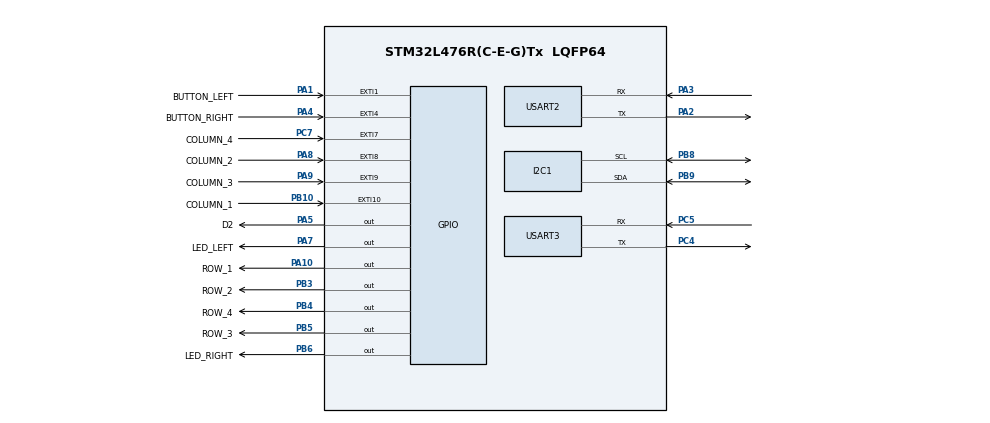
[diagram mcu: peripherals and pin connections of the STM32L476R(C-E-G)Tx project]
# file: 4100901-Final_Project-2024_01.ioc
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Mcu.Family=STM32L4
Mcu.Name=STM32L476R(C-E-G)Tx
Mcu.Package=LQFP64
NVIC.EXTI15_10_IRQn=true\:0\:0\:false\:false\:true\:true\:true\:true
NVIC.EXTI1_IRQn=true\:0\:0\:false\:false\:true\:true\:true\:true
NVIC.EXTI4_IRQn=true\:0\:0\:false\:false\:true\:true\:true\:true
NVIC.EXTI9_5_IRQn=true\:0\:0\:false\:false\:true\:true\:true\:true
NVIC.PriorityGroup=NVIC_PRIORITYGROUP_4
NVIC.USART2_IRQn=true\:0\:0\:false\:false\:true\:true\:true\:true
PA1.GPIO_Label=BUTTON_LEFT
PA1.GPIO_ModeDefaultEXTI=GPIO_MODE_IT_FALLING
PA1.GPIO_PuPd=GPIO_PULLUP
PA1.Signal=GPXTI1
PA10.GPIO_Label=ROW_1
PA10.GPIO_ModeDefaultOutputPP=GPIO_MODE_OUTPUT_PP
PA10.GPIO_Speed=GPIO_SPEED_FREQ_HIGH
PA10.PinState=GPIO_PIN_SET
PA10.Signal=GPIO_Output
PA2.Mode=Asynchronous
PA2.Signal=USART2_TX
PA3.Mode=Asynchronous
PA3.Signal=USART2_RX
PA4.GPIO_Label=BUTTON_RIGHT
PA4.GPIO_ModeDefaultEXTI=GPIO_MODE_IT_FALLING
PA4.GPIO_PuPd=GPIO_PULLUP
PA4.Signal=GPXTI4
PA5.GPIO_Label=D2
PA5.Signal=GPIO_Output
PA7.GPIO_Label=LED_LEFT
PA7.Signal=GPIO_Output
PA8.GPIO_Label=COLUMN_2
PA8.GPIO_PuPd=GPIO_PULLDOWN
PA8.Signal=GPXTI8
PA9.GPIO_Label=COLUMN_3
PA9.GPIO_PuPd=GPIO_PULLDOWN
PA9.Signal=GPXTI9
PB10.GPIO_Label=COLUMN_1
PB10.GPIO_PuPd=GPIO_PULLDOWN
PB10.Signal=GPXTI10
PB3\ (JTDO-TRACESWO).GPIO_Label=ROW_2
PB3\ (JTDO-TRACESWO).GPIO_ModeDefaultOutputPP=GPIO_MODE_OUTPUT_PP
PB3\ (JTDO-TRACESWO).GPIO_Speed=GPIO_SPEED_FREQ_HIGH
PB3\ (JTDO-TRACESWO).PinState=GPIO_PIN_SET
PB3\ (JTDO-TRACESWO).Signal=GPIO_Output
PB4\ (NJTRST).GPIO_Label=ROW_4
PB4\ (NJTRST).GPIO_ModeDefaultOutputPP=GPIO_MODE_OUTPUT_PP
PB4\ (NJTRST).GPIO_Speed=GPIO_SPEED_FREQ_HIGH
PB4\ (NJTRST).PinState=GPIO_PIN_SET
PB4\ (NJTRST).Signal=GPIO_Output
PB5.GPIO_Label=ROW_3
PB5.GPIO_ModeDefaultOutputPP=GPIO_MODE_OUTPUT_PP
PB5.GPIO_Speed=GPIO_SPEED_FREQ_HIGH
PB5.PinState=GPIO_PIN_SET
PB5.Signal=GPIO_Output
PB6.GPIO_Label=LED_RIGHT
PB6.Signal=GPIO_Output
PB8.Mode=I2C
PB8.Signal=I2C1_SCL
PB9.Mode=I2C
PB9.Signal=I2C1_SDA
PC4.Mode=Asynchronous
PC4.Signal=USART3_TX
PC5.Mode=Asynchronous
PC5.Signal=USART3_RX
PC7.GPIO_Label=COLUMN_4
PC7.GPIO_PuPd=GPIO_PULLDOWN
PC7.Signal=GPXTI7
ProjectManager.HeapSize=0x200
ProjectManager.StackSize=0x400
ProjectManager.TargetToolchain=STM32CubeIDE
RCC.HSE_VALUE=8000000
RCC.HSI_VALUE=16000000
RCC.LSE_VALUE=32768
RCC.MSI_VALUE=4000000
RCC.VCOOutputFreq_Value=32000000
USART2.VirtualMode-Asynchronous=VM_ASYNC
USART3.VirtualMode-Asynchronous=VM_ASYNC
board=custom

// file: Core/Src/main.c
/* USER CODE BEGIN Header */
/**
  ******************************************************************************
  * @file           : main.c
  * @brief          : Main program body
  ******************************************************************************
  * @attention
  *
  * Copyright (c) 2024 STMicroelectronics.
  * All rights reserved.
  *
  * This software is licensed under terms that can be found in the LICENSE file
  * in the root directory of this software component.
  * If no LICENSE file comes with this software, it is provided AS-IS.
  *
  ******************************************************************************
  */
/* USER CODE END Header */
#include "main.h"

/* USER CODE BEGIN Includes */
#include <stdio.h>

#include "ssd1306.h"
#include "ssd1306_fonts.h"

#include "ring_buffer.h"
#include "keypad.h"

/* USER CODE END Includes */

I2C_HandleTypeDef hi2c1;

UART_HandleTypeDef huart2;
UART_HandleTypeDef huart3;

/* USER CODE BEGIN PV */

#define USART2_BUFFER_SIZE 8
uint8_t usart2_buffer[USART2_BUFFER_SIZE];
ring_buffer_t usart2_rb;
uint8_t usart2_rx;
uint8_t IZQ;
uint8_t DER;

uint32_t left_toggles = 0;
uint32_t right_toggles = 0;
uint32_t left_last_press_tick = 0;
uint32_t right_last_press_tick = 0;

typedef enum {
    MENU_PRINCIPAL,
    MENU_DIRECCION,
    SELECCION_IZQUIERDA,
    SELECCION_DERECHA
} MenuState;

MenuState currentMenu = MENU_PRINCIPAL;

/* USER CODE END PV */

void SystemClock_Config(void);
static void MX_GPIO_Init(void);
static void MX_I2C1_Init(void);
static void MX_USART2_UART_Init(void);
static void MX_USART3_UART_Init(void);

/* USER CODE BEGIN 0 */

/* Private variables ---------------------------------------------------------*/
#define MAX_DIGITS 4  // Longitud de la clave
char current_password[MAX_DIGITS + 1] = "";  // Buffer para almacenar la clave actual
uint8_t digit_index = 0; // �?ndice para los dígitos ingresados
char correct_password[MAX_DIGITS + 1] = "1234";  // Clave correcta para comparación
uint8_t authenticated = 0;  // Estado de autenticación (0 = no autenticado, 1 = autenticado)

char clave_actual[5] = "1234"; // Clave por defecto
char clave_ingresada[5]; // Para almacenar la clave ingresada
int8_t v=0;

/* Función para actualizar la pantalla con la clave ingresada */
void update_password_display() {
    ssd1306_Fill(Black);
    ssd1306_SetCursor(0, 0);
    ssd1306_WriteString("Clave: ", Font_11x18, White);
    ssd1306_SetCursor(0, 20);
    ssd1306_WriteString(current_password, Font_11x18, White);
    ssd1306_UpdateScreen();
}

void process_keypad_input(uint8_t key) {
    if (authenticated) {
        comandos(key);
    } else if (key >= '0' && key <= '9') {
        if (digit_index < MAX_DIGITS) {
            current_password[digit_index++] = key;
            current_password[digit_index] = '\0';
            update_password_display();
        }

        if (digit_index == MAX_DIGITS) {
            verify_password();
        }
    }
}

void comandos(uint8_t key2) {
    switch (key2) {
        case '1':
        	key2=NULL;
        	signal_left();
            currentMenu = MENU_PRINCIPAL;
            break;
        case '2':
        	key2=NULL;
            signal_stop();
            currentMenu = MENU_PRINCIPAL;

            break;
        case '3':
        	key2=NULL;
            signal_right();
            currentMenu = MENU_PRINCIPAL;
            break;
        case '4':
        	key2=NULL;
            cambiar_clave();
            break;
        default:
            ssd1306_WriteString("Comando no reconocido", Font_11x18, White);
            HAL_UART_Transmit(&huart2, (uint8_t *)"Comando no reconocido\r\n", 24, 10);
            HAL_UART_Transmit(&huart3, (uint8_t *)"Comando no reconocido\r\n", 24, 10);
            break;
    }
}

/* Función para verificar si la clave ingresada es correcta */

void verify_password() {
    if (strcmp(current_password, correct_password) == 0) {
        ssd1306_Fill(Black);
        ssd1306_SetCursor(0, 0);
        ssd1306_WriteString("Clave Correcta!", Font_11x18, White);
        HAL_UART_Transmit(&huart2, (uint8_t *)"Clave Correcta!\r\n", 18, 10);
        HAL_UART_Transmit(&huart3, (uint8_t *)"Clave Correcta!\r\n", 18, 10);
        ssd1306_UpdateScreen();
        authenticated = 1;
    } else {
        ssd1306_Fill(Black);
        ssd1306_SetCursor(0, 0);
        ssd1306_WriteString("Clave Incorrecta", Font_11x18, White);
        HAL_UART_Transmit(&huart2, (uint8_t *)"Clave Incorrecta\r\n", 19, 10);
        HAL_UART_Transmit(&huart3, (uint8_t *)"Clave Incorrecta\r\n", 19, 10);
        ssd1306_UpdateScreen();
    }

    digit_index = 0;
    current_password[0] = '\0';
}

void cambiar_clave() {
    if (!authenticated) {
        ssd1306_WriteString("No autenticado", Font_11x18, White);
        HAL_UART_Transmit(&huart2, (uint8_t *)"No autenticado\r\n", 17, 10);
        HAL_UART_Transmit(&huart3, (uint8_t *)"No autenticado\r\n", 17, 10);

    }

    ssd1306_Fill(Black);
    ssd1306_SetCursor(0, 0);
    ssd1306_WriteString("Nueva Clave:", Font_11x18, White);
    HAL_UART_Transmit(&huart2, (uint8_t *)"Nueva clave\r\n", 15, 10);
    HAL_UART_Transmit(&huart3, (uint8_t *)"Nueva clave\r\n", 15, 10);
    ssd1306_UpdateScreen();

    for (int i = 0; i < 4; i++) {
        clave_actual[i] = keypad_scan(GPIO_PIN_All);

    }
    clave_actual[4] = '\0';

    ssd1306_Fill(Black);
    ssd1306_SetCursor(0, 0);
    ssd1306_WriteString("Clave Cambiada", Font_11x18, White);
    HAL_UART_Transmit(&huart2, (uint8_t *)"Clave cambiada\r\n", 17, 10);
    HAL_UART_Transmit(&huart3, (uint8_t *)"Clave cambiada\r\n", 17, 10);
    ssd1306_UpdateScreen();

    currentMenu = MENU_PRINCIPAL;
}

void signal_direction(uint8_t direction) {
    if (direction == 1) {
        ssd1306_WriteString("<< Izquierda <<", Font_11x18, White);
        HAL_UART_Transmit(&huart2, (uint8_t *)"<< Izquierda <<\r\n", 18, 10);
        HAL_UART_Transmit(&huart3, (uint8_t *)"<< Izquierda <<\r\n", 18, 10);
    } else if (direction == 3) {
        ssd1306_WriteString(">> Derecha >>", Font_11x18, White);
        HAL_UART_Transmit(&huart2, (uint8_t *)">> Derecha >>\r\n", 18, 10);
        HAL_UART_Transmit(&huart3, (uint8_t *)">> Derecha >>\r\n", 18, 10);
    }
    ssd1306_UpdateScreen();
}
void signal_stop() {
    ssd1306_Fill(Black);
    ssd1306_SetCursor(0, 0);
    ssd1306_WriteString("=== STOP ===", Font_11x18, White);
    HAL_UART_Transmit(&huart2, (uint8_t *)"=== STOP ===\r\n", 15, 10);
    HAL_UART_Transmit(&huart3, (uint8_t *)"=== STOP ===\r\n", 15, 10);
    ssd1306_UpdateScreen();

    int8_t key2 = NULL;
    comandos(key2);
    return;
}
void signal_left() {
    ssd1306_Fill(Black);
    ssd1306_SetCursor(0, 0);
    ssd1306_WriteString("<<< LEFT <<<", Font_11x18, White);
    HAL_UART_Transmit(&huart2, (uint8_t *)"<<< LEFT <<<\r\n", 15, 10);
    HAL_UART_Transmit(&huart3, (uint8_t *)"<<< LEFT <<<\r\n", 15, 10);
    ssd1306_UpdateScreen();
    //HAL_Delay(2000);
    int8_t key2 = NULL;
        comandos(key2);
    return;
}

void signal_right() {
    ssd1306_Fill(Black);
    ssd1306_SetCursor(0, 0);
    ssd1306_WriteString(">>> RIGHT >>>", Font_11x18, White);
    HAL_UART_Transmit(&huart2, (uint8_t *)">>> RIGHT >>>\r\n", 16, 10);
    HAL_UART_Transmit(&huart3, (uint8_t *)">>> RIGHT >>>\r\n", 16, 10);
    ssd1306_UpdateScreen();

    int8_t key2 = NULL;
        comandos(key2);
    return;
}

void heartbeat(void)
{
	static uint32_t heartbeat_tick = 0;
	if (heartbeat_tick < HAL_GetTick()) {
		heartbeat_tick = HAL_GetTick() + 500;
		HAL_GPIO_TogglePin(D2_GPIO_Port, D2_Pin);
	}
}

void turn_signal_left(void)
{
	if(authenticated){
	static uint32_t turn_toggle_tick = 0;
	if (turn_toggle_tick < HAL_GetTick()) {
		if (left_toggles > 0) {
			turn_toggle_tick = HAL_GetTick() + 500;

			ssd1306_Fill(Black);
			HAL_Delay(500);
			ssd1306_SetCursor(0, 0);
			ssd1306_WriteString("<< Izquierda <<", Font_11x18, White);
			HAL_UART_Transmit(&huart2,(uint8_t *)"<< Izquierda <<\r\n",19 , 10);
			HAL_UART_Transmit(&huart3,(uint8_t *)"<< Izquierda <<\r\n",19 , 10);
			ssd1306_UpdateScreen();
			left_toggles--;
		} else {
			ssd1306_Fill(Black);
			HAL_Delay(500);
			ssd1306_SetCursor(0, 0);
			ssd1306_WriteString("<< Izquierda <<", Font_11x18, White);
			HAL_UART_Transmit(&huart2,(uint8_t *)"<< Izquierda <<\r\n",19 , 10);
			HAL_UART_Transmit(&huart3,(uint8_t *)"<< Izquierda <<\r\n",19 , 10);
			ssd1306_UpdateScreen();
		}

	}
	}
}

int _write(int file, char *ptr, int len)
{
  HAL_UART_Transmit(&huart2, (uint8_t *)ptr, len, 10);
  return len;
}

void HAL_UART_RxCpltCallback(UART_HandleTypeDef *huart)
{
  /* Data received in USART2 */
  if (huart->Instance == USART2) {
	  usart2_rx = USART2->RDR; // leyendo el byte recibido de USART2
	  ring_buffer_write(&usart2_rb, usart2_rx); // put the data received in buffer
	  //HAL_UART_Receive_IT(&huart2, &usart2_rx, 1); // enable interrupt to continue receiving
	  ATOMIC_SET_BIT(USART2->CR1, USART_CR1_RXNEIE); // usando un funcion mas liviana para reducir memoria
  }
}

void HAL_GPIO_EXTI_Callback(uint16_t GPIO_Pin)
{

    uint8_t key_pressed = keypad_scan(GPIO_Pin);

    if(!authenticated){
    // Llamar a la función para procesar la tecla presionada
    process_keypad_input(key_pressed);
    }else{

    	comandos(key_pressed);
    }

    // Aquí puedes continuar con la lógica del menú si es necesario

	if (GPIO_Pin == BUTTON_RIGHT_Pin) {
		HAL_UART_Transmit(&huart2, (uint8_t *)"S1\r\n", 4, 10);
		if (HAL_GetTick() < (left_last_press_tick + 300)) { // if last press was in the last 300ms
			left_toggles = 0xFFFFFF; // a long time toggling (infinite)
		} else {
			left_toggles = 6;
		}
		left_last_press_tick = HAL_GetTick();
	} else if (GPIO_Pin == BUTTON_LEFT_Pin) {
		left_toggles = 0;
	}

	}

void low_power_mode()
{
#define AWAKE_TIME (10 * 1000) // 10 segundos
	static uint32_t sleep_tick = AWAKE_TIME;

	if (sleep_tick > HAL_GetTick()) {
		return;
	}
	printf("Sleeping\r\n");
	sleep_tick = HAL_GetTick() + AWAKE_TIME;

	RCC->AHB1SMENR  = 0x0;
	RCC->AHB2SMENR  = 0x0;
	RCC->AHB3SMENR  = 0x0;

	RCC->APB1SMENR1 = 0x0;
	RCC->APB1SMENR2 = 0x0;
	RCC->APB2SMENR  = 0x0;

	/*Suspend Tick increment to prevent wakeup by Systick interrupt.
	Otherwise the Systick interrupt will wake up the device within 1ms (HAL time base)*/
	HAL_SuspendTick();

	/* Enter Sleep Mode , wake up is done once User push-button is pressed */
	HAL_PWR_EnterSLEEPMode(PWR_MAINREGULATOR_ON, PWR_SLEEPENTRY_WFI);

	/* Resume Tick interrupt if disabled prior to SLEEP mode entry */
	HAL_ResumeTick();

	printf("Awake\r\n");
}
/* USER CODE END 0 */

int main(void)
{

  /* MCU Configuration--------------------------------------------------------*/

  /* Reset of all peripherals, Initializes the Flash interface and the Systick. */
  HAL_Init();

  /* Configure the system clock */
  SystemClock_Config();

  /* Initialize all configured peripherals */
  MX_GPIO_Init();
  MX_I2C1_Init();
  MX_USART2_UART_Init();
  MX_USART3_UART_Init();
  /* USER CODE BEGIN 2 */

  ssd1306_Init();
  ssd1306_SetCursor(25, 5);

  ring_buffer_init(&usart2_rb, usart2_buffer, USART2_BUFFER_SIZE);
  /* USER CODE END 2 */

  /* Infinite loop */
  /* USER CODE BEGIN WHILE */
  printf("Starting...\r\n");
  //HAL_UART_Receive_IT(&huart2, &usart2_rx, 1); // enable interrupt for USART2 Rx
  ATOMIC_SET_BIT(USART2->CR1, USART_CR1_RXNEIE); // usando un funcion mas liviana para reducir memoria

  while (1) {

	      HAL_Delay(500);
	      uint8_t key_pressed = keypad_scan(GPIO_PIN_All);  // Escanea el teclado

	      if (!authenticated) {
	          ssd1306_Fill(Black);
	          ssd1306_SetCursor(0, 0);
	          ssd1306_WriteString("Ingrese Clave:", Font_11x18, White);
	          ssd1306_UpdateScreen();
	      }
//	      else {
//	          comandos(key_pressed);  // Mostrar comandos si el usuario está autenticado
//	      }

         low_power_mode();  // Modo de bajo consumo

//	  if (ingresar_clave()) { // Verificar clave
//	              char tecla = keypad_scan(GPIO_PIN_All);
//
//	              if (tecla == '1' || tecla == '2' || tecla == '3') {
//	                  modo_direccional();
//	              } else if (tecla == 'A') {
//	                  cambiar_clave(); // Cambiar clave
//	              }
//	          }

	  if (ring_buffer_is_full(&usart2_rb) != 0) {
		  printf("Received:\r\n");
		  while (ring_buffer_is_empty(&usart2_rb) == 0) {
			  uint8_t data;
			  ring_buffer_read(&usart2_rb, &data);
			  HAL_UART_Transmit(&huart2, &data, 1, 10);
		  }
		  printf("\r\n");
	  }

	  low_power_mode();
    /* USER CODE END WHILE */

  }
}

void SystemClock_Config(void)
{
  RCC_OscInitTypeDef RCC_OscInitStruct = {0};
  RCC_ClkInitTypeDef RCC_ClkInitStruct = {0};

  /** Configure the main internal regulator output voltage
  */
  if (HAL_PWREx_ControlVoltageScaling(PWR_REGULATOR_VOLTAGE_SCALE1) != HAL_OK)
  {
    Error_Handler();
  }

  /** Initializes the RCC Oscillators according to the specified parameters
  * in the RCC_OscInitTypeDef structure.
  */
  RCC_OscInitStruct.OscillatorType = RCC_OSCILLATORTYPE_MSI;
  RCC_OscInitStruct.MSIState = RCC_MSI_ON;
  RCC_OscInitStruct.MSICalibrationValue = 0;
  RCC_OscInitStruct.MSIClockRange = RCC_MSIRANGE_6;
  RCC_OscInitStruct.PLL.PLLState = RCC_PLL_NONE;
  if (HAL_RCC_OscConfig(&RCC_OscInitStruct) != HAL_OK)
  {
    Error_Handler();
  }

  /** Initializes the CPU, AHB and APB buses clocks
  */
  RCC_ClkInitStruct.ClockType = RCC_CLOCKTYPE_HCLK|RCC_CLOCKTYPE_SYSCLK
                              |RCC_CLOCKTYPE_PCLK1|RCC_CLOCKTYPE_PCLK2;
  RCC_ClkInitStruct.SYSCLKSource = RCC_SYSCLKSOURCE_MSI;
  RCC_ClkInitStruct.AHBCLKDivider = RCC_SYSCLK_DIV1;
  RCC_ClkInitStruct.APB1CLKDivider = RCC_HCLK_DIV1;
  RCC_ClkInitStruct.APB2CLKDivider = RCC_HCLK_DIV1;

  if (HAL_RCC_ClockConfig(&RCC_ClkInitStruct, FLASH_LATENCY_0) != HAL_OK)
  {
    Error_Handler();
  }
}

static void MX_I2C1_Init(void)
{

  hi2c1.Instance = I2C1;
  hi2c1.Init.Timing = 0x00000E14;
  hi2c1.Init.OwnAddress1 = 0;
  hi2c1.Init.AddressingMode = I2C_ADDRESSINGMODE_7BIT;
  hi2c1.Init.DualAddressMode = I2C_DUALADDRESS_DISABLE;
  hi2c1.Init.OwnAddress2 = 0;
  hi2c1.Init.OwnAddress2Masks = I2C_OA2_NOMASK;
  hi2c1.Init.GeneralCallMode = I2C_GENERALCALL_DISABLE;
  hi2c1.Init.NoStretchMode = I2C_NOSTRETCH_DISABLE;
  if (HAL_I2C_Init(&hi2c1) != HAL_OK)
  {
    Error_Handler();
  }

  /** Configure Analogue filter
  */
  if (HAL_I2CEx_ConfigAnalogFilter(&hi2c1, I2C_ANALOGFILTER_ENABLE) != HAL_OK)
  {
    Error_Handler();
  }

  /** Configure Digital filter
  */
  if (HAL_I2CEx_ConfigDigitalFilter(&hi2c1, 0) != HAL_OK)
  {
    Error_Handler();
  }

}

static void MX_USART2_UART_Init(void)
{

  huart2.Instance = USART2;
  huart2.Init.BaudRate = 115200;
  huart2.Init.WordLength = UART_WORDLENGTH_8B;
  huart2.Init.StopBits = UART_STOPBITS_1;
  huart2.Init.Parity = UART_PARITY_NONE;
  huart2.Init.Mode = UART_MODE_TX_RX;
  huart2.Init.HwFlowCtl = UART_HWCONTROL_NONE;
  huart2.Init.OverSampling = UART_OVERSAMPLING_16;
  huart2.Init.OneBitSampling = UART_ONE_BIT_SAMPLE_DISABLE;
  huart2.AdvancedInit.AdvFeatureInit = UART_ADVFEATURE_NO_INIT;
  if (HAL_UART_Init(&huart2) != HAL_OK)
  {
    Error_Handler();
  }

}

static void MX_USART3_UART_Init(void)
{

  huart3.Instance = USART3;
  huart3.Init.BaudRate = 115200;
  huart3.Init.WordLength = UART_WORDLENGTH_8B;
  huart3.Init.StopBits = UART_STOPBITS_1;
  huart3.Init.Parity = UART_PARITY_NONE;
  huart3.Init.Mode = UART_MODE_TX_RX;
  huart3.Init.HwFlowCtl = UART_HWCONTROL_NONE;
  huart3.Init.OverSampling = UART_OVERSAMPLING_16;
  huart3.Init.OneBitSampling = UART_ONE_BIT_SAMPLE_DISABLE;
  huart3.AdvancedInit.AdvFeatureInit = UART_ADVFEATURE_NO_INIT;
  if (HAL_UART_Init(&huart3) != HAL_OK)
  {
    Error_Handler();
  }

}

static void MX_GPIO_Init(void)
{
  GPIO_InitTypeDef GPIO_InitStruct = {0};

  /* GPIO Ports Clock Enable */
  __HAL_RCC_GPIOA_CLK_ENABLE();
  __HAL_RCC_GPIOC_CLK_ENABLE();
  __HAL_RCC_GPIOB_CLK_ENABLE();

  /*Configure GPIO pin Output Level */
  HAL_GPIO_WritePin(GPIOA, D2_Pin|LED_LEFT_Pin, GPIO_PIN_RESET);

  /*Configure GPIO pin Output Level */
  HAL_GPIO_WritePin(ROW_1_GPIO_Port, ROW_1_Pin, GPIO_PIN_SET);

  /*Configure GPIO pin Output Level */
  HAL_GPIO_WritePin(GPIOB, ROW_2_Pin|ROW_4_Pin|ROW_3_Pin, GPIO_PIN_SET);

  /*Configure GPIO pin Output Level */
  HAL_GPIO_WritePin(LED_RIGHT_GPIO_Port, LED_RIGHT_Pin, GPIO_PIN_RESET);

  /*Configure GPIO pins : BUTTON_LEFT_Pin BUTTON_RIGHT_Pin */
  GPIO_InitStruct.Pin = BUTTON_LEFT_Pin|BUTTON_RIGHT_Pin;
  GPIO_InitStruct.Mode = GPIO_MODE_IT_FALLING;
  GPIO_InitStruct.Pull = GPIO_PULLUP;
  HAL_GPIO_Init(GPIOA, &GPIO_InitStruct);

  /*Configure GPIO pins : D2_Pin LED_LEFT_Pin */
  GPIO_InitStruct.Pin = D2_Pin|LED_LEFT_Pin;
  GPIO_InitStruct.Mode = GPIO_MODE_OUTPUT_PP;
  GPIO_InitStruct.Pull = GPIO_NOPULL;
  GPIO_InitStruct.Speed = GPIO_SPEED_FREQ_LOW;
  HAL_GPIO_Init(GPIOA, &GPIO_InitStruct);

  /*Configure GPIO pin : COLUMN_1_Pin */
  GPIO_InitStruct.Pin = COLUMN_1_Pin;
  GPIO_InitStruct.Mode = GPIO_MODE_IT_RISING;
  GPIO_InitStruct.Pull = GPIO_PULLDOWN;
  HAL_GPIO_Init(COLUMN_1_GPIO_Port, &GPIO_InitStruct);

  /*Configure GPIO pin : COLUMN_4_Pin */
  GPIO_InitStruct.Pin = COLUMN_4_Pin;
  GPIO_InitStruct.Mode = GPIO_MODE_IT_RISING;
  GPIO_InitStruct.Pull = GPIO_PULLDOWN;
  HAL_GPIO_Init(COLUMN_4_GPIO_Port, &GPIO_InitStruct);

  /*Configure GPIO pins : COLUMN_2_Pin COLUMN_3_Pin */
  GPIO_InitStruct.Pin = COLUMN_2_Pin|COLUMN_3_Pin;
  GPIO_InitStruct.Mode = GPIO_MODE_IT_RISING;
  GPIO_InitStruct.Pull = GPIO_PULLDOWN;
  HAL_GPIO_Init(GPIOA, &GPIO_InitStruct);

  /*Configure GPIO pin : ROW_1_Pin */
  GPIO_InitStruct.Pin = ROW_1_Pin;
  GPIO_InitStruct.Mode = GPIO_MODE_OUTPUT_PP;
  GPIO_InitStruct.Pull = GPIO_NOPULL;
  GPIO_InitStruct.Speed = GPIO_SPEED_FREQ_HIGH;
  HAL_GPIO_Init(ROW_1_GPIO_Port, &GPIO_InitStruct);

  /*Configure GPIO pins : ROW_2_Pin ROW_4_Pin ROW_3_Pin */
  GPIO_InitStruct.Pin = ROW_2_Pin|ROW_4_Pin|ROW_3_Pin;
  GPIO_InitStruct.Mode = GPIO_MODE_OUTPUT_PP;
  GPIO_InitStruct.Pull = GPIO_NOPULL;
  GPIO_InitStruct.Speed = GPIO_SPEED_FREQ_HIGH;
  HAL_GPIO_Init(GPIOB, &GPIO_InitStruct);

  /*Configure GPIO pin : LED_RIGHT_Pin */
  GPIO_InitStruct.Pin = LED_RIGHT_Pin;
  GPIO_InitStruct.Mode = GPIO_MODE_OUTPUT_PP;
  GPIO_InitStruct.Pull = GPIO_NOPULL;
  GPIO_InitStruct.Speed = GPIO_SPEED_FREQ_LOW;
  HAL_GPIO_Init(LED_RIGHT_GPIO_Port, &GPIO_InitStruct);

  /* EXTI interrupt init*/
  HAL_NVIC_SetPriority(EXTI1_IRQn, 0, 0);
  HAL_NVIC_EnableIRQ(EXTI1_IRQn);

  HAL_NVIC_SetPriority(EXTI4_IRQn, 0, 0);
  HAL_NVIC_EnableIRQ(EXTI4_IRQn);

  HAL_NVIC_SetPriority(EXTI9_5_IRQn, 0, 0);
  HAL_NVIC_EnableIRQ(EXTI9_5_IRQn);

  HAL_NVIC_SetPriority(EXTI15_10_IRQn, 0, 0);
  HAL_NVIC_EnableIRQ(EXTI15_10_IRQn);

}

void Error_Handler(void)
{
  __disable_irq();
  while (1)
  {
  }
}
